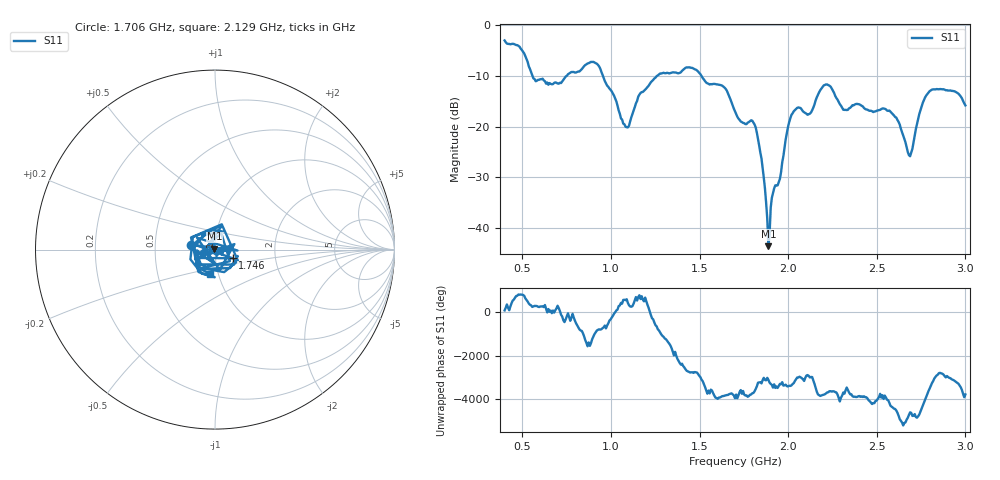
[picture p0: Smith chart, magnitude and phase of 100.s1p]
!Created with skrf (http://scikit-rf.org).
# Hz S RI R 50.0
!freq ReS11 ImS11
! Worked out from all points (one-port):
!   401 points, 400 MHz to 3 GHz, reference 50 ohm
!   lowest |S11| = -43.6 dB at 1.889 GHz (marker M1), VSWR 1.01, Z = 49.6 + j0.54 ohm
!   |S11| at or under -10 dB: 557.2 MHz to 749.5 MHz (192.4 MHz wide, 29.4 % of centre); 955.1 MHz to 1.259 GHz (304.1 MHz wide, 27.5 % of centre); 1.511 GHz to end of sweep
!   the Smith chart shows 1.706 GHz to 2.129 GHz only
!   S11 on the Smith chart (normalised r, x): 1.706 GHz: 0.77, +0.04; 1.746 GHz: 1.21, -0.12; 2.129 GHz: 0.91, -0.25
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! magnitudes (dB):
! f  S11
! 400 MHz  -3.0
! 491 MHz  -4.6
! 575.5 MHz  -11.0
! 725 MHz  -11.1
! 913.5 MHz  -7.4
! 1.05 GHz  -17.4
! 1.095 GHz  -20.1
! 1.161 GHz  -13.7
! 1.238 GHz  -10.8
! 1.375 GHz  -9.4
! 1.453 GHz  -8.4
! 1.629 GHz  -11.9
! 1.7 GHz  -17.0
! 1.706 GHz  -17.5
! 1.746 GHz  -19.2
! 1.817 GHz  -20.2
! 1.849 GHz  -26.3
! 1.889 GHz  -43.6
! 2.025 GHz  -17.4
! 2.129 GHz  -17.2
! 2.213 GHz  -11.7
! 2.35 GHz  -16.3
! 2.578 GHz  -17.1
! 2.675 GHz  -25.0
! 2.695 GHz  -25.1
! 2.747 GHz  -16.8
! 2.799 GHz  -13.0
! 3 GHz  -15.8
